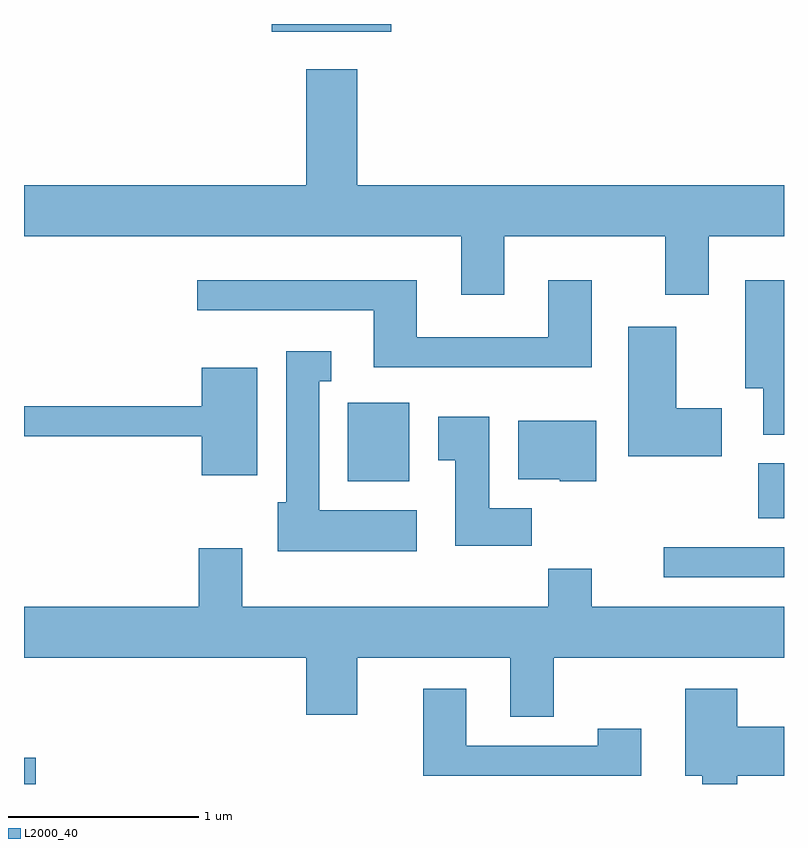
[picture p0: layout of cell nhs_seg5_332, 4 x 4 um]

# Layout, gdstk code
import gdstk
lib = gdstk.Library(unit=1e-6, precision=1e-09)
def R(c, l, rs):  # rectangles x0, y0, x1, y1
    for r in rs: c.add(gdstk.rectangle(r[:2], r[2:], *l))
def P(c, l, *ps):  # polygons
    for p in ps: c.add(gdstk.Polygon(p, *l))
L2000_40 = (2000, 40)

nhs_seg5_332 = lib.new_cell('nhs_seg5_332')
R(nhs_seg5_332, L2000_40, [(193.611,1516.072,193.674,1516.209), (196.978,1517.161,197.611,1517.319), (197.476,1517.471,197.611,1517.759), (195.316,1517.666,195.639,1518.079), (194.916,1520.031,195.544,1520.072)])
P(nhs_seg5_332, L2000_40, [(196.139,1518.956),(196.986,1518.956),(196.986,1518.646),(197.214,1518.646),(197.214,1518.956),(197.611,1518.956),(197.611,1519.224),(195.364,1519.224),(195.364,1519.834),(195.096,1519.834),(195.096,1519.224),(193.611,1519.224),(193.611,1518.956),(195.911,1518.956),(195.911,1518.646),(196.139,1518.646)],
  [(197.611,1518.724),(197.406,1518.724),(197.406,1518.156),(197.501,1518.156),(197.501,1517.911),(197.611,1517.911)],
  [(196.599,1518.724),(196.371,1518.724),(196.371,1518.424),(195.679,1518.424),(195.679,1518.724),(194.523,1518.724),(194.523,1518.566),(195.451,1518.566),(195.451,1518.266),(196.599,1518.266)],
  [(197.284,1518.049),(197.044,1518.049),(197.044,1518.479),(196.791,1518.479),(196.791,1517.796),(197.284,1517.796)],
  [(195.679,1517.514),(195.164,1517.514),(195.164,1518.191),(195.228,1518.191),(195.228,1518.349),(194.991,1518.349),(194.991,1517.554),(194.946,1517.554),(194.946,1517.296),(195.679,1517.296)],
  [(194.839,1518.264),(194.546,1518.264),(194.546,1518.059),(193.611,1518.059),(193.611,1517.901),(194.546,1517.901),(194.546,1517.696),(194.839,1517.696)],
  [(196.284,1517.524),(196.059,1517.524),(196.059,1518.004),(195.791,1518.004),(195.791,1517.776),(195.881,1517.776),(195.881,1517.326),(196.284,1517.326)],
  [(196.624,1517.984),(196.211,1517.984),(196.211,1517.676),(196.43,1517.676),(196.43,1517.666),(196.624,1517.666)],
  [(196.399,1516.736),(197.611,1516.736),(197.611,1517.004),(196.599,1517.004),(196.599,1517.204),(196.371,1517.204),(196.371,1517.004),(194.759,1517.004),(194.759,1517.314),(194.531,1517.314),(194.531,1517.004),(193.611,1517.004),(193.611,1516.736),(195.096,1516.736),(195.096,1516.436),(195.364,1516.436),(195.364,1516.736),(196.171,1516.736),(196.171,1516.426),(196.399,1516.426)],
  [(196.859,1516.364),(196.631,1516.364),(196.631,1516.274),(195.939,1516.274),(195.939,1516.574),(195.711,1516.574),(195.711,1516.116),(196.859,1516.116)],
  [(197.364,1516.116),(197.611,1516.116),(197.611,1516.374),(197.364,1516.374),(197.364,1516.574),(197.091,1516.574),(197.091,1516.116),(197.181,1516.116),(197.181,1516.072),(197.364,1516.072)])

lib.write_gds('nhs_seg5_332.gds')
